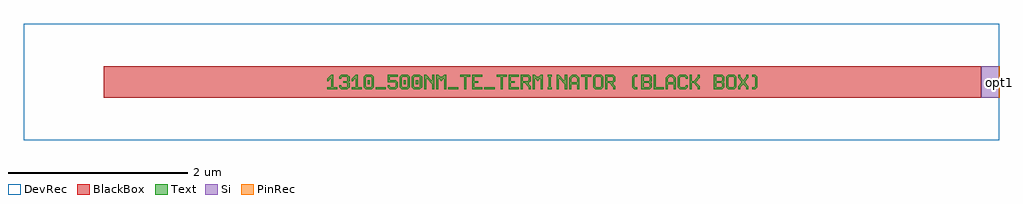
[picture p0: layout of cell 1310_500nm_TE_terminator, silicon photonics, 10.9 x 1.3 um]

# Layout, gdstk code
import gdstk
lib = gdstk.Library(unit=1e-6, precision=1e-09)
def R(c, l, rs):  # rectangles x0, y0, x1, y1
    for r in rs: c.add(gdstk.rectangle(r[:2], r[2:], *l))
def P(c, l, *ps):  # polygons
    for p in ps: c.add(gdstk.Polygon(p, *l))
Si = (1, 0)
PinRec = (1, 10)
Text = (10, 0)
DevRec = (68, 0)
BlackBox = (998, 0)

text = lib.new_cell('TEXT')
R(text, Text, [(0.54,0,0.653,0.023), (1.35,0,1.463,0.023), (1.755,0,1.868,0.023), (0.45,0.056,0.473,0.101), (0.855,0.056,0.878,0.101), (0.99,0.056,1.013,0.101)])
P(text, Text, [(0,0),(0,0.023),(0.045,0.023),(0.045,0.113),(0.034,0.113),(0.011,0.09),(0,0.09),(0,0.113),(0.045,0.158),(0.068,0.158),(0.068,0.023),(0.113,0.023),(0.113,0)],
  [(0.158,0),(0.135,0.023),(0.135,0.045),(0.158,0.045),(0.158,0.034),(0.169,0.023),(0.214,0.023),(0.225,0.034),(0.225,0.056),(0.214,0.068),(0.18,0.068),(0.18,0.09),(0.214,0.09),(0.225,0.101),(0.225,0.124),(0.214,0.135),(0.169,0.135),(0.158,0.124),(0.158,0.113),(0.135,0.113),(0.135,0.135),(0.158,0.158),(0.225,0.158),(0.248,0.135),(0.248,0.09),(0.236,0.079),(0.248,0.068),(0.248,0.023),(0.225,0)],
  [(0.27,0),(0.27,0.023),(0.315,0.023),(0.315,0.113),(0.304,0.113),(0.281,0.09),(0.27,0.09),(0.27,0.113),(0.315,0.158),(0.338,0.158),(0.338,0.023),(0.383,0.023),(0.383,0)],
  [(0.428,0),(0.405,0.023),(0.405,0.135),(0.428,0.158),(0.495,0.158),(0.518,0.135),(0.439,0.135),(0.428,0.124),(0.428,0.034),(0.439,0.023),(0.484,0.023),(0.495,0.034),(0.495,0.124),(0.484,0.135),(0.518,0.135),(0.518,0.023),(0.495,0)],
  [(0.698,0),(0.675,0.023),(0.675,0.045),(0.698,0.045),(0.698,0.034),(0.709,0.023),(0.754,0.023),(0.765,0.034),(0.765,0.068),(0.754,0.079),(0.675,0.079),(0.675,0.158),(0.788,0.158),(0.788,0.135),(0.698,0.135),(0.698,0.101),(0.765,0.101),(0.788,0.079),(0.788,0.023),(0.765,0)],
  [(0.833,0),(0.81,0.023),(0.81,0.135),(0.833,0.158),(0.9,0.158),(0.923,0.135),(0.844,0.135),(0.833,0.124),(0.833,0.034),(0.844,0.023),(0.889,0.023),(0.9,0.034),(0.9,0.124),(0.889,0.135),(0.923,0.135),(0.923,0.023),(0.9,0)],
  [(0.968,0),(0.945,0.023),(0.945,0.135),(0.968,0.158),(1.035,0.158),(1.058,0.135),(0.979,0.135),(0.968,0.124),(0.968,0.034),(0.979,0.023),(1.024,0.023),(1.035,0.034),(1.035,0.124),(1.024,0.135),(1.058,0.135),(1.058,0.023),(1.035,0)],
  [(1.08,0),(1.08,0.158),(1.103,0.158),(1.159,0.101),(1.17,0.101),(1.17,0.158),(1.193,0.158),(1.193,0),(1.17,0),(1.17,0.056),(1.114,0.113),(1.103,0.113),(1.103,0)],
  [(1.215,0),(1.215,0.158),(1.238,0.158),(1.26,0.135),(1.283,0.135),(1.305,0.158),(1.328,0.158),(1.328,0),(1.305,0),(1.305,0.113),(1.294,0.113),(1.271,0.09),(1.249,0.113),(1.238,0.113),(1.238,0)],
  [(1.53,0),(1.53,0.135),(1.485,0.135),(1.485,0.158),(1.598,0.158),(1.598,0.135),(1.553,0.135),(1.553,0)],
  [(1.62,0),(1.62,0.158),(1.733,0.158),(1.733,0.135),(1.643,0.135),(1.643,0.09),(1.688,0.09),(1.688,0.068),(1.643,0.068),(1.643,0.023),(1.733,0.023),(1.733,0)],
  [(1.935,0),(1.935,0.135),(1.89,0.135),(1.89,0.158),(2.003,0.158),(2.003,0.135),(1.958,0.135),(1.958,0)],
  [(2.025,0),(2.025,0.158),(2.138,0.158),(2.138,0.135),(2.048,0.135),(2.048,0.09),(2.093,0.09),(2.093,0.068),(2.048,0.068),(2.048,0.023),(2.138,0.023),(2.138,0)],
  [(2.16,0),(2.16,0.158),(2.25,0.158),(2.273,0.135),(2.183,0.135),(2.183,0.09),(2.239,0.09),(2.25,0.101),(2.25,0.124),(2.239,0.135),(2.273,0.135),(2.273,0.09),(2.25,0.068),(2.25,0.056),(2.273,0.034),(2.273,0),(2.25,0),(2.25,0.023),(2.205,0.068),(2.183,0.068),(2.183,0)],
  [(2.295,0),(2.295,0.158),(2.318,0.158),(2.34,0.135),(2.363,0.135),(2.385,0.158),(2.408,0.158),(2.408,0),(2.385,0),(2.385,0.113),(2.374,0.113),(2.351,0.09),(2.329,0.113),(2.318,0.113),(2.318,0)],
  [(2.464,0),(2.464,0.023),(2.475,0.023),(2.475,0.135),(2.464,0.135),(2.464,0.158),(2.509,0.158),(2.509,0.135),(2.498,0.135),(2.498,0.023),(2.509,0.023),(2.509,0)],
  [(2.565,0),(2.565,0.158),(2.588,0.158),(2.644,0.101),(2.655,0.101),(2.655,0.158),(2.678,0.158),(2.678,0),(2.655,0),(2.655,0.056),(2.599,0.113),(2.588,0.113),(2.588,0)],
  [(2.7,0),(2.7,0.124),(2.734,0.158),(2.779,0.158),(2.801,0.135),(2.745,0.135),(2.723,0.113),(2.723,0.079),(2.79,0.079),(2.79,0.113),(2.768,0.135),(2.801,0.135),(2.813,0.124),(2.813,0),(2.79,0),(2.79,0.056),(2.723,0.056),(2.723,0)],
  [(2.88,0),(2.88,0.135),(2.835,0.135),(2.835,0.158),(2.948,0.158),(2.948,0.135),(2.903,0.135),(2.903,0)],
  [(2.993,0),(2.97,0.023),(2.97,0.135),(2.993,0.158),(3.06,0.158),(3.083,0.135),(3.083,0.079),(3.06,0.079),(3.06,0.124),(3.049,0.135),(3.004,0.135),(2.993,0.124),(2.993,0.034),(3.004,0.023),(3.049,0.023),(3.06,0.034),(3.06,0.079),(3.083,0.079),(3.083,0.023),(3.06,0)],
  [(3.105,0),(3.105,0.158),(3.195,0.158),(3.218,0.135),(3.128,0.135),(3.128,0.09),(3.184,0.09),(3.195,0.101),(3.195,0.124),(3.184,0.135),(3.218,0.135),(3.218,0.09),(3.195,0.068),(3.195,0.056),(3.218,0.034),(3.218,0),(3.195,0),(3.195,0.023),(3.15,0.068),(3.128,0.068),(3.128,0)],
  [(3.431,0),(3.409,0.023),(3.409,0.135),(3.431,0.158),(3.465,0.158),(3.465,0.135),(3.443,0.135),(3.431,0.124),(3.431,0.034),(3.443,0.023),(3.465,0.023),(3.465,0)],
  [(3.51,0),(3.51,0.158),(3.6,0.158),(3.623,0.135),(3.533,0.135),(3.533,0.09),(3.589,0.09),(3.6,0.101),(3.6,0.124),(3.589,0.135),(3.623,0.135),(3.623,0.09),(3.611,0.079),(3.623,0.068),(3.533,0.068),(3.533,0.023),(3.589,0.023),(3.6,0.034),(3.6,0.056),(3.589,0.068),(3.623,0.068),(3.623,0.023),(3.6,0)],
  [(3.645,0),(3.645,0.158),(3.668,0.158),(3.668,0.023),(3.758,0.023),(3.758,0)],
  [(3.78,0),(3.78,0.124),(3.814,0.158),(3.859,0.158),(3.881,0.135),(3.825,0.135),(3.803,0.113),(3.803,0.079),(3.87,0.079),(3.87,0.113),(3.848,0.135),(3.881,0.135),(3.893,0.124),(3.893,0),(3.87,0),(3.87,0.056),(3.803,0.056),(3.803,0)],
  [(3.938,0),(3.915,0.023),(3.915,0.135),(3.938,0.158),(4.005,0.158),(4.028,0.135),(4.028,0.113),(4.005,0.113),(4.005,0.124),(3.994,0.135),(3.949,0.135),(3.938,0.124),(3.938,0.034),(3.949,0.023),(3.994,0.023),(4.005,0.034),(4.005,0.045),(4.028,0.045),(4.028,0.023),(4.005,0)],
  [(4.05,0),(4.05,0.158),(4.073,0.158),(4.073,0.09),(4.095,0.09),(4.14,0.135),(4.14,0.158),(4.163,0.158),(4.163,0.124),(4.118,0.079),(4.163,0.034),(4.163,0),(4.14,0),(4.14,0.023),(4.095,0.068),(4.073,0.068),(4.073,0)],
  [(4.32,0),(4.32,0.158),(4.41,0.158),(4.433,0.135),(4.343,0.135),(4.343,0.09),(4.399,0.09),(4.41,0.101),(4.41,0.124),(4.399,0.135),(4.433,0.135),(4.433,0.09),(4.421,0.079),(4.433,0.068),(4.343,0.068),(4.343,0.023),(4.399,0.023),(4.41,0.034),(4.41,0.056),(4.399,0.068),(4.433,0.068),(4.433,0.023),(4.41,0)],
  [(4.478,0),(4.455,0.023),(4.455,0.135),(4.478,0.158),(4.545,0.158),(4.568,0.135),(4.568,0.079),(4.545,0.079),(4.545,0.124),(4.534,0.135),(4.489,0.135),(4.478,0.124),(4.478,0.034),(4.489,0.023),(4.534,0.023),(4.545,0.034),(4.545,0.079),(4.568,0.079),(4.568,0.023),(4.545,0)],
  [(4.59,0),(4.59,0.034),(4.624,0.068),(4.624,0.09),(4.59,0.124),(4.59,0.158),(4.613,0.158),(4.613,0.135),(4.646,0.101),(4.68,0.135),(4.68,0.158),(4.703,0.158),(4.703,0.124),(4.669,0.09),(4.669,0.068),(4.703,0.034),(4.703,0),(4.68,0),(4.68,0.023),(4.646,0.056),(4.613,0.023),(4.613,0)],
  [(4.748,0),(4.748,0.023),(4.77,0.023),(4.781,0.034),(4.781,0.124),(4.77,0.135),(4.748,0.135),(4.748,0.158),(4.781,0.158),(4.804,0.135),(4.804,0.023),(4.781,0)])

c_1310_500nm_te_terminator = lib.new_cell('1310_500nm_TE_terminator')
R(c_1310_500nm_te_terminator, Si, [(-0.2,-0.175,0,0.175)])
R(c_1310_500nm_te_terminator, DevRec, [(-10.9,-0.65,0,0.65)])
R(c_1310_500nm_te_terminator, BlackBox, [(-10.005,-0.175,-0.2,0.175)])
c_1310_500nm_te_terminator.add(gdstk.FlexPath([(-0.005,0),(0.005,0)], 0.35, ends="flush", simple_path=True, layer=1, datatype=10))  # PinRec
c_1310_500nm_te_terminator.add(gdstk.Reference(text, (-7.505,-0.079)))
c_1310_500nm_te_terminator.add(gdstk.Label('opt1', (0,0), layer=1, texttype=10))

lib.write_gds('1310_500nm_TE_terminator.gds')
